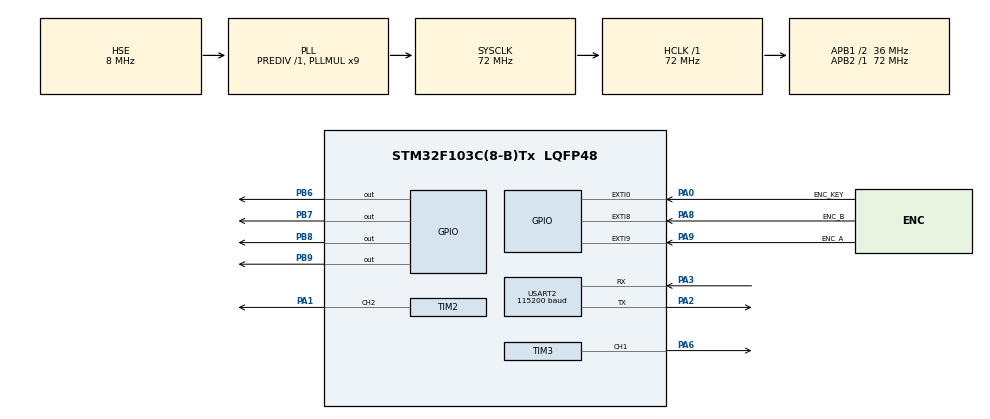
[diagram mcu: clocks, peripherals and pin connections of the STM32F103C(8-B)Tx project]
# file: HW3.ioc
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Mcu.Family=STM32F1
Mcu.Name=STM32F103C(8-B)Tx
Mcu.Package=LQFP48
NVIC.EXTI0_IRQn=true\:0\:0\:false\:false\:true\:true\:true\:true
NVIC.EXTI9_5_IRQn=true\:0\:0\:false\:false\:true\:true\:true\:true
NVIC.PriorityGroup=NVIC_PRIORITYGROUP_4
NVIC.TIM2_IRQn=true\:0\:0\:false\:false\:true\:true\:true\:true
NVIC.USART2_IRQn=true\:1\:0\:false\:false\:true\:true\:true\:true
PA0-WKUP.GPIO_Label=ENC_KEY
PA0-WKUP.GPIO_ModeDefaultEXTI=GPIO_MODE_IT_FALLING
PA0-WKUP.GPIO_PuPd=GPIO_PULLUP
PA0-WKUP.Signal=GPXTI0
PA1.Signal=S_TIM2_CH2
PA13.Mode=Serial_Wire
PA13.Signal=SYS_JTMS-SWDIO
PA14.Mode=Serial_Wire
PA14.Signal=SYS_JTCK-SWCLK
PA2.Mode=Asynchronous
PA2.Signal=USART2_TX
PA3.Mode=Asynchronous
PA3.Signal=USART2_RX
PA6.Signal=S_TIM3_CH1
PA8.GPIO_Label=ENC_B
PA8.GPIO_ModeDefaultEXTI=GPIO_MODE_IT_RISING_FALLING
PA8.GPIO_PuPd=GPIO_PULLUP
PA8.Signal=GPXTI8
PA9.GPIO_Label=ENC_A
PA9.GPIO_ModeDefaultEXTI=GPIO_MODE_IT_RISING_FALLING
PA9.GPIO_PuPd=GPIO_PULLUP
PA9.Signal=GPXTI9
PB6.PinState=GPIO_PIN_RESET
PB6.Signal=GPIO_Output
PB7.PinState=GPIO_PIN_SET
PB7.Signal=GPIO_Output
PB8.GPIO_Speed=GPIO_SPEED_FREQ_HIGH
PB8.PinState=GPIO_PIN_SET
PB8.Signal=GPIO_Output
PB9.PinState=GPIO_PIN_SET
PB9.Signal=GPIO_Output
PD0-OSC_IN.Mode=HSE-External-Oscillator
PD0-OSC_IN.Signal=RCC_OSC_IN
PD1-OSC_OUT.Mode=HSE-External-Oscillator
PD1-OSC_OUT.Signal=RCC_OSC_OUT
ProjectManager.HeapSize=0x200
ProjectManager.StackSize=0x400
ProjectManager.TargetToolchain=MDK-ARM V5.32
RCC.AHBFreq_Value=72000000
RCC.APB1CLKDivider=RCC_HCLK_DIV2
RCC.APB1Freq_Value=36000000
RCC.APB1TimFreq_Value=72000000
RCC.APB2Freq_Value=72000000
RCC.APB2TimFreq_Value=72000000
RCC.HCLKFreq_Value=72000000
RCC.PLLMUL=RCC_PLL_MUL9
RCC.PLLSourceVirtual=RCC_PLLSOURCE_HSE
RCC.SYSCLKFreq_VALUE=72000000
RCC.SYSCLKSource=RCC_SYSCLKSOURCE_PLLCLK
RCC.USBFreq_Value=72000000
SH.S_TIM2_CH2.0=TIM2_CH2,PWM Generation2 CH2
SH.S_TIM3_CH1.0=TIM3_CH1,PWM Generation1 CH1
TIM2.AutoReloadPreload=TIM_AUTORELOAD_PRELOAD_ENABLE
TIM2.Channel-PWM\ Generation2\ CH2=TIM_CHANNEL_2
TIM2.Period=999
TIM2.Prescaler=71
TIM2.Pulse-PWM\ Generation2\ CH2=500
TIM3.AutoReloadPreload=TIM_AUTORELOAD_PRELOAD_ENABLE
TIM3.Channel-PWM\ Generation1\ CH1=TIM_CHANNEL_1
TIM3.Period=19999
TIM3.Prescaler=71
TIM3.Pulse-PWM\ Generation1\ CH1=1500
USART2.BaudRate=115200
USART2.VirtualMode=VM_ASYNC
VP_TIM3_VS_ClockSourceINT.Mode=Internal
board=custom

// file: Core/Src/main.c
/* USER CODE BEGIN Header */
/**
  ******************************************************************************
  * @file           : main.c
  * @brief          : Main program body
  ******************************************************************************
  * @attention
  *
  * Copyright (c) 2026 STMicroelectronics.
  * All rights reserved.
  *
  * This software is licensed under terms that can be found in the LICENSE file
  * in the root directory of this software component.
  * If no LICENSE file comes with this software, it is provided AS-IS.
  *
  ******************************************************************************
  */
/* USER CODE END Header */
#include "main.h"
#include "tim.h"
#include "gpio.h"
#include "usart.h"

/* USER CODE BEGIN Includes */
#include "OLED.h"
#include "encoder.h"
#include "servo.h"
#include "buzzer.h"
#include "comm.h"
/* USER CODE END Includes */

/* USER CODE BEGIN PV */
#define DEG_PER_DETENT    2
#define EDGES_PER_DETENT  4
/* USER CODE END PV */

void SystemClock_Config(void);

/* USER CODE BEGIN 0 */
/*********************************************************************

 *********************************************************************/
/* USER CODE END 0 */

int main(void)
{

  /* USER CODE BEGIN 1 */
  int32_t  angle     = 90;
  int32_t  last_step = 0;
  uint32_t last_key  = 0;
  uint8_t  src       = 0;
  uint8_t  src_shown = 0xFF;
  int32_t  target    = 0;
  /* USER CODE END 1 */

  /* MCU Configuration--------------------------------------------------------*/

  /* Reset of all peripherals, Initializes the Flash interface and the Systick. */
  HAL_Init();

  /* Configure the system clock */
  SystemClock_Config();

  /* Initialize all configured peripherals */
  MX_GPIO_Init();
  MX_TIM2_Init();
  MX_TIM3_Init();
  /* USER CODE BEGIN 2 */
  MX_USART2_UART_Init();

  OLED_Init();
  Comm_Init();
  Encoder_Init();
  Servo_Init();
  Buzzer_Init();

  OLED_ShowString(1, 1, "Servo Angle:");
  OLED_ShowString(3, 1, "UART 115200");
  OLED_ShowString(4, 1, "SRC: --- ");

  OLED_ShowNum(2, 1, (uint32_t)angle, 3);
  OLED_ShowString(2, 4, " deg");

  last_step = Encoder_GetStep();
  last_key  = Encoder_GetKeyCount();
  /* USER CODE END 2 */

  /* Infinite loop */
  while (1)
  {

    /* USER CODE BEGIN 3 */
    int32_t step  = Encoder_GetStep();
    int32_t delta = step - last_step;

    if (delta >= EDGES_PER_DETENT || delta <= -EDGES_PER_DETENT)
    {
      int32_t detents = delta / EDGES_PER_DETENT;
      int32_t na      = angle + detents * DEG_PER_DETENT;

      if (na < 0)   na = 0;
      if (na > 180) na = 180;

      last_step += detents * EDGES_PER_DETENT;

      if (na != angle)
      {
        angle = na;
        Servo_SetAngle((float)angle);
        OLED_ShowNum(2, 1, (uint32_t)angle, 3);
        src = 1;
      }
    }

    if (Comm_PopTarget(&target))
    {
      angle = target;
      Servo_SetAngle((float)angle);
      OLED_ShowNum(2, 1, (uint32_t)angle, 3);
      Buzzer_Beep(200);
      src = 2;
    }

    if (Encoder_GetKeyCount() != last_key)
    {
      last_key = Encoder_GetKeyCount();
      angle    = 90;
      Servo_SetAngle(90.0f);
      OLED_ShowNum(2, 1, 90, 3);
      Buzzer_Beep(200);
      src = 3;
    }

    if (src != src_shown)
    {
      src_shown = src;
      OLED_ShowString(4, 1, (src == 1) ? "SRC: ENC " :
                             (src == 2) ? "SRC: UART" :
                             (src == 3) ? "SRC: KEY " : "SRC: --- ");
    }
    /* USER CODE END 3 */
  }
}

void SystemClock_Config(void)
{
  RCC_OscInitTypeDef RCC_OscInitStruct = {0};
  RCC_ClkInitTypeDef RCC_ClkInitStruct = {0};

  /** Initializes the RCC Oscillators according to the specified parameters
  * in the RCC_OscInitTypeDef structure.
  */
  RCC_OscInitStruct.OscillatorType = RCC_OSCILLATORTYPE_HSE;
  RCC_OscInitStruct.HSEState = RCC_HSE_ON;
  RCC_OscInitStruct.HSEPredivValue = RCC_HSE_PREDIV_DIV1;
  RCC_OscInitStruct.HSIState = RCC_HSI_ON;
  RCC_OscInitStruct.PLL.PLLState = RCC_PLL_ON;
  RCC_OscInitStruct.PLL.PLLSource = RCC_PLLSOURCE_HSE;
  RCC_OscInitStruct.PLL.PLLMUL = RCC_PLL_MUL9;
  if (HAL_RCC_OscConfig(&RCC_OscInitStruct) != HAL_OK)
  {
    Error_Handler();
  }

  /** Initializes the CPU, AHB and APB buses clocks
  */
  RCC_ClkInitStruct.ClockType = RCC_CLOCKTYPE_HCLK|RCC_CLOCKTYPE_SYSCLK
                              |RCC_CLOCKTYPE_PCLK1|RCC_CLOCKTYPE_PCLK2;
  RCC_ClkInitStruct.SYSCLKSource = RCC_SYSCLKSOURCE_PLLCLK;
  RCC_ClkInitStruct.AHBCLKDivider = RCC_SYSCLK_DIV1;
  RCC_ClkInitStruct.APB1CLKDivider = RCC_HCLK_DIV2;
  RCC_ClkInitStruct.APB2CLKDivider = RCC_HCLK_DIV1;

  if (HAL_RCC_ClockConfig(&RCC_ClkInitStruct, FLASH_LATENCY_2) != HAL_OK)
  {
    Error_Handler();
  }
}

/* USER CODE BEGIN 4 */
/**
  * @brief 定时器更新（溢出）中断回调
  * @note  TIM2 每 1ms 进一次，给蜂鸣器做 0.2s 倒计时
  */
void HAL_TIM_PeriodElapsedCallback(TIM_HandleTypeDef *htim)
{
  if (htim->Instance == TIM2)
  {
    Buzzer_Tick();
  }
}
/* USER CODE END 4 */

void Error_Handler(void)
{
  __disable_irq();
  while (1)
  {
  }
}
